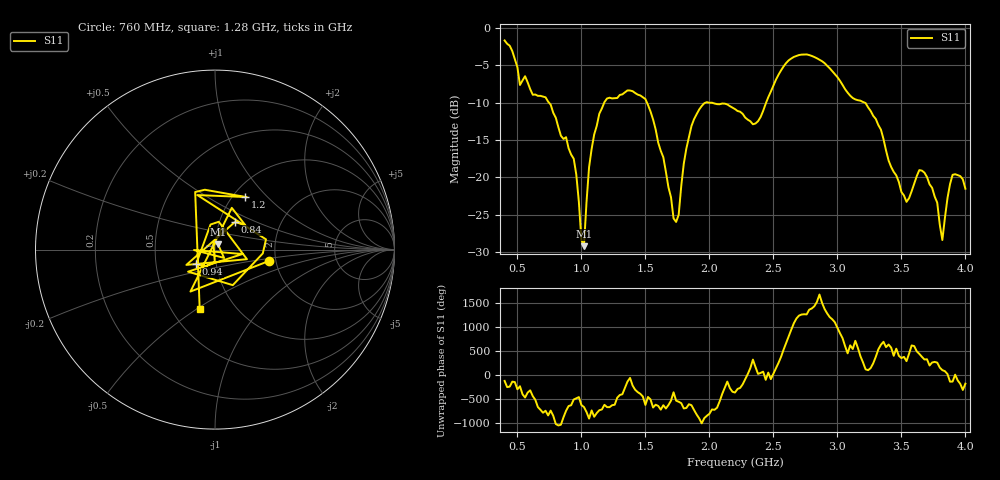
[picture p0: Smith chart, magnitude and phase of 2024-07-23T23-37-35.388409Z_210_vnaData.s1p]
!Created with skrf (http://scikit-rf.org).
# Hz S RI R 50.0
!freq ReS11 ImS11
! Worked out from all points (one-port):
!   181 points, 400 MHz to 4 GHz, reference 50 ohm
!   lowest |S11| = -29.2 dB at 1.02 GHz (marker M1), VSWR 1.07, Z = 51.6 + j3.13 ohm
!   |S11| at or under -10 dB: 747.4 MHz to 1.178 GHz (430.6 MHz wide, 44.7 % of centre); 1.513 GHz to 1.969 GHz (455.9 MHz wide, 26.2 % of centre); 3.215 GHz to end of sweep (the widest 3 of 4)
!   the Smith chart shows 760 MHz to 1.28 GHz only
!   S11 on the Smith chart (normalised r, x): 760 MHz: 1.84, -0.26; 840 MHz: 1.18, +0.38; 940 MHz: 0.80, -0.13; 1.2 GHz: 1.14, +0.75; 1.28 GHz: 0.69, -0.51
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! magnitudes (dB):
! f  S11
! 400 MHz  -1.6
! 520 MHz  -7.6
! 760 MHz  -10.3
! 840 MHz  -14.4
! 860 MHz  -14.8
! 940 MHz  -17.5
! 1.02 GHz  -29.2
! 1.08 GHz  -16.2
! 1.2 GHz  -9.4
! 1.28 GHz  -9.4
! 1.3 GHz  -9.0
! 1.5 GHz  -9.5
! 1.64 GHz  -17.3
! 1.72 GHz  -25.5
! 1.76 GHz  -25.0
! 1.82 GHz  -16.1
! 1.9 GHz  -11.5
! 2.2 GHz  -10.9
! 2.36 GHz  -12.8
! 2.66 GHz  -3.9
! 3.1 GHz  -9.1
! 3.3 GHz  -12.2
! 3.56 GHz  -22.8
! 3.68 GHz  -19.4
! 3.78 GHz  -23.4
! 3.82 GHz  -28.4
! 3.9 GHz  -19.7
! 4 GHz  -21.5
